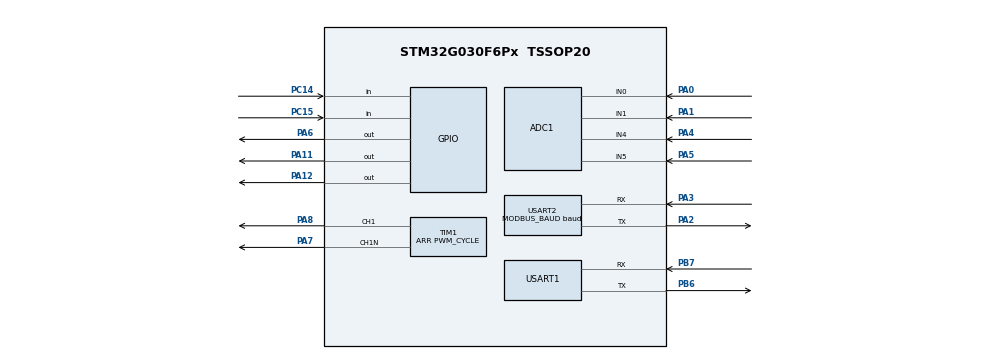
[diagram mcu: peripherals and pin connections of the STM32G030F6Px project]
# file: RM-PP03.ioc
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ADC1.Channel-0\#ChannelRegularConversion=ADC_CHANNEL_0
ADC1.Channel-1\#ChannelRegularConversion=ADC_CHANNEL_1
ADC1.Channel-2\#ChannelRegularConversion=ADC_CHANNEL_4
ADC1.Channel-3\#ChannelRegularConversion=ADC_CHANNEL_5
ADC1.Channel-4\#ChannelRegularConversion=ADC_CHANNEL_VREFINT
ADC1.ClockPrescaler=ADC_CLOCK_SYNC_PCLK_DIV2
ADC1.ContinuousConvMode=DISABLE
ADC1.DMAContinuousRequests=ENABLE
ADC1.DataAlign=ADC_DATAALIGN_LEFT
ADC1.ExternalTrigConv=ADC_SOFTWARE_START
ADC1.NbrOfConversion=5
ADC1.NbrOfConversionFlag=1
ADC1.Rank-0\#ChannelRegularConversion=1
ADC1.Rank-1\#ChannelRegularConversion=2
ADC1.Rank-2\#ChannelRegularConversion=3
ADC1.Rank-3\#ChannelRegularConversion=4
ADC1.Rank-4\#ChannelRegularConversion=5
ADC1.SamplingTime-0\#ChannelRegularConversion=ADC_SAMPLINGTIME_COMMON_1
ADC1.SamplingTime-1\#ChannelRegularConversion=ADC_SAMPLINGTIME_COMMON_1
ADC1.SamplingTime-2\#ChannelRegularConversion=ADC_SAMPLINGTIME_COMMON_1
ADC1.SamplingTime-3\#ChannelRegularConversion=ADC_SAMPLINGTIME_COMMON_1
ADC1.SamplingTime-4\#ChannelRegularConversion=ADC_SAMPLINGTIME_COMMON_2
ADC1.SamplingTimeCommon1=ADC_SAMPLETIME_39CYCLES_5
ADC1.SamplingTimeCommon2=ADC_SAMPLETIME_79CYCLES_5
ADC1.SelectedChannel=ADC_CHANNEL_0|ADC_CHANNEL_1|ADC_CHANNEL_4|ADC_CHANNEL_5|ADC_CHANNEL_VREFINT
ADC1.master=1
Dma.ADC1.0.Direction=DMA_PERIPH_TO_MEMORY
Dma.ADC1.0.EventEnable=DISABLE
Dma.ADC1.0.Instance=DMA1_Channel1
Dma.ADC1.0.MemDataAlignment=DMA_MDATAALIGN_HALFWORD
Dma.ADC1.0.MemInc=DMA_MINC_ENABLE
Dma.ADC1.0.Mode=DMA_CIRCULAR
Dma.ADC1.0.PeriphDataAlignment=DMA_PDATAALIGN_HALFWORD
Dma.ADC1.0.PeriphInc=DMA_PINC_DISABLE
Dma.ADC1.0.Polarity=HAL_DMAMUX_REQ_GEN_RISING
Dma.ADC1.0.Priority=DMA_PRIORITY_LOW
Dma.ADC1.0.RequestNumber=1
Dma.ADC1.0.SignalID=NONE
Dma.ADC1.0.SyncEnable=DISABLE
Dma.ADC1.0.SyncPolarity=HAL_DMAMUX_SYNC_NO_EVENT
Dma.ADC1.0.SyncRequestNumber=1
Dma.ADC1.0.SyncSignalID=NONE
Dma.Request0=ADC1
Dma.Request1=USART2_TX
Dma.Request2=USART1_TX
Dma.USART1_TX.2.Direction=DMA_MEMORY_TO_PERIPH
Dma.USART1_TX.2.EventEnable=DISABLE
Dma.USART1_TX.2.Instance=DMA1_Channel3
Dma.USART1_TX.2.MemDataAlignment=DMA_MDATAALIGN_BYTE
Dma.USART1_TX.2.MemInc=DMA_MINC_ENABLE
Dma.USART1_TX.2.Mode=DMA_NORMAL
Dma.USART1_TX.2.PeriphDataAlignment=DMA_PDATAALIGN_BYTE
Dma.USART1_TX.2.PeriphInc=DMA_PINC_DISABLE
Dma.USART1_TX.2.Polarity=HAL_DMAMUX_REQ_GEN_RISING
Dma.USART1_TX.2.Priority=DMA_PRIORITY_LOW
Dma.USART1_TX.2.RequestNumber=1
Dma.USART1_TX.2.SignalID=NONE
Dma.USART1_TX.2.SyncEnable=DISABLE
Dma.USART1_TX.2.SyncPolarity=HAL_DMAMUX_SYNC_NO_EVENT
Dma.USART1_TX.2.SyncRequestNumber=1
Dma.USART1_TX.2.SyncSignalID=NONE
Dma.USART2_TX.1.Direction=DMA_MEMORY_TO_PERIPH
Dma.USART2_TX.1.EventEnable=DISABLE
Dma.USART2_TX.1.Instance=DMA1_Channel2
Dma.USART2_TX.1.MemDataAlignment=DMA_MDATAALIGN_BYTE
Dma.USART2_TX.1.MemInc=DMA_MINC_ENABLE
Dma.USART2_TX.1.Mode=DMA_NORMAL
Dma.USART2_TX.1.PeriphDataAlignment=DMA_PDATAALIGN_BYTE
Dma.USART2_TX.1.PeriphInc=DMA_PINC_DISABLE
Dma.USART2_TX.1.Polarity=HAL_DMAMUX_REQ_GEN_RISING
Dma.USART2_TX.1.Priority=DMA_PRIORITY_LOW
Dma.USART2_TX.1.RequestNumber=1
Dma.USART2_TX.1.SignalID=NONE
Dma.USART2_TX.1.SyncEnable=DISABLE
Dma.USART2_TX.1.SyncPolarity=HAL_DMAMUX_SYNC_NO_EVENT
Dma.USART2_TX.1.SyncRequestNumber=1
Dma.USART2_TX.1.SyncSignalID=NONE
Mcu.Family=STM32G0
Mcu.Name=STM32G030F6Px
Mcu.Package=TSSOP20
Mcu.UserConstants=PWM_CYCLE,(SYSCLOCK / PWM_HZ - 1);SYSCLOCK,(64*1000*1000);PWM_HZ,(100000);MODBUS_BAUD,115200
NVIC.DMA1_Channel1_IRQn=true\:2\:0\:true\:false\:true\:false\:true\:true
NVIC.DMA1_Channel2_3_IRQn=true\:1\:0\:true\:false\:true\:false\:true\:true
NVIC.TIM17_IRQn=true\:3\:0\:true\:false\:true\:true\:true\:true
NVIC.TIM1_BRK_UP_TRG_COM_IRQn=true\:3\:0\:true\:false\:true\:true\:true\:true
NVIC.USART1_IRQn=true\:0\:0\:false\:false\:true\:true\:true\:true
NVIC.USART2_IRQn=true\:0\:0\:false\:false\:true\:true\:true\:true
PA0.Mode=IN0
PA0.Signal=ADC1_IN0
PA1.Mode=IN1
PA1.Signal=ADC1_IN1
PA11\ [PA9].Signal=GPIO_Output
PA12\ [PA10].Signal=GPIO_Output
PA13.Mode=Serial_Wire
PA13.Signal=SYS_SWDIO
PA14-BOOT0.Mode=Serial_Wire
PA14-BOOT0.Signal=SYS_SWCLK
PA14-BOOT0__PA15.StandardMode=true
PA2.Mode=Asynchronous
PA2.Signal=USART2_TX
PA3.GPIO_PuPd=GPIO_PULLUP
PA3.Mode=Asynchronous
PA3.Signal=USART2_RX
PA4.Mode=IN4
PA4.Signal=ADC1_IN4
PA5.Mode=IN5
PA5.Signal=ADC1_IN5
PA6.Signal=GPIO_Output
PA7.GPIO_PuPd=GPIO_PULLDOWN
PA7.GPIO_Speed=GPIO_SPEED_FREQ_VERY_HIGH
PA7.Mode=PWM Generation1 CH1 CH1N
PA7.PinState=GPIO_PIN_RESET
PA7.Signal=TIM1_CH1N
PA8.GPIO_PuPd=GPIO_PULLDOWN
PA8.GPIO_Speed=GPIO_SPEED_FREQ_VERY_HIGH
PA8.PinState=GPIO_PIN_RESET
PA8.Signal=S_TIM1_CH1
PB0__PB1__PB2__PA8.StandardMode=true
PB3__PB4__PB5__PB6.StandardMode=true
PB6.Mode=Asynchronous
PB6.Signal=USART1_TX
PB7.GPIO_PuPd=GPIO_PULLUP
PB7.Mode=Asynchronous
PB7.Signal=USART1_RX
PB7__PB8.StandardMode=true
PC14-OSC32_IN\ (PC14).Signal=GPIO_Input
PC14-OSC32_IN\ (PC14)__PB9.StandardMode=true
PC15-OSC32_OUT\ (PC15).Signal=GPIO_Input
ProjectManager.HeapSize=0x200
ProjectManager.StackSize=0x400
ProjectManager.TargetToolchain=STM32CubeIDE
RCC.ADCFreq_Value=64000000
RCC.AHBFreq_Value=64000000
RCC.CortexFreq_Value=64000000
RCC.EXTERNAL_CLOCK_VALUE=12288000
RCC.HCLKFreq_Value=64000000
RCC.HSE_VALUE=8000000
RCC.HSI_VALUE=16000000
RCC.LSE_VALUE=32768
RCC.SYSCLKFreq_VALUE=64000000
RCC.SYSCLKSource=RCC_SYSCLKSOURCE_PLLCLK
RCC.VCOOutputFreq_Value=128000000
SH.S_TIM1_CH1.0=TIM1_CH1,PWM Generation1 CH1 CH1N
TIM1.AutoReloadPreload=TIM_AUTORELOAD_PRELOAD_ENABLE
TIM1.Channel-PWM\ Generation1\ CH1\ CH1N=TIM_CHANNEL_1
TIM1.OCFastMode_PWM-PWM\ Generation1\ CH1\ CH1N=TIM_OCFAST_ENABLE
TIM1.OCIdleState_1=TIM_OCIDLESTATE_SET
TIM1.OCNIdleState_1=TIM_OCNIDLESTATE_SET
TIM1.OCNPolarity_1=TIM_OCNPOLARITY_LOW
TIM1.OCPolarity_1=TIM_OCPOLARITY_LOW
TIM1.OffStateIDLEMode=TIM_OSSI_DISABLE
TIM1.OffStateRunMode=TIM_OSSR_ENABLE
TIM1.Period=PWM_CYCLE
TIM17.Period=63
USART1.VirtualMode-Asynchronous=VM_ASYNC
USART2.BaudRate=MODBUS_BAUD
USART2.VirtualMode-Asynchronous=VM_ASYNC
VP_ADC1_Vref_Input.Mode=IN-Vrefint
VP_TIM17_VS_ClockSourceINT.Mode=Enable_Timer
VP_TIM1_VS_ClockSourceINT.Mode=Internal
board=custom

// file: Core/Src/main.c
/* USER CODE BEGIN Header */
/**
  ******************************************************************************
  * @file           : main.c
  * @brief          : Main program body
  ******************************************************************************
  * @attention
  *
  * Copyright (c) 2023 STMicroelectronics.
  * All rights reserved.
  *
  * This software is licensed under terms that can be found in the LICENSE file
  * in the root directory of this software component.
  * If no LICENSE file comes with this software, it is provided AS-IS.
  *
  ******************************************************************************
  */
/* USER CODE END Header */
#include "main.h"
#include "adc.h"
#include "dma.h"
#include "tim.h"
#include "usart.h"
#include "gpio.h"

/* USER CODE BEGIN Includes */
#include <stdbool.h>
#include <stdint.h>
#include <string.h>
/* USER CODE END Includes */

/* USER CODE BEGIN PTD */
typedef enum
{
  STATE_STARTUP,
  STATE_NORMAL,
  STATE_EMO,
}STATE;

typedef enum
{
  MB_EC_ILLEGAL_FUNCTION = 0x01,
  MB_EC_ILLEGAL_DATA_ADDRESS,
  MB_EC_ILLEGAL_DATA_VALUE,
  MB_EC_SERVER_DEVICFEFAILURE,
  MB_EC_ACKNOWLEDGE,
  MB_EC_SERVER_DEVICE_BUSY,
  MB_EC_MEMORY_PARITY_ERROR = 0x08,
  MB_EC_GATEWAY_PATH_UNAVAILABLE = 0x0A,
  MB_EC_GATEWAY_TARGET_DEVICE_FAILED_TO_RESPOND,
}MB_EXCEPTION_CODE;
/* USER CODE END PTD */

/* USER CODE BEGIN PD */
const static uint32_t ModbusTimeout = 1000;
const static uint32_t SwitchProcInterval = 10;
const static uint32_t EmoResetDuration = 5000;
const static uint32_t LedProcInterval = 125;
const static int LedPhaseMax = 8;
const static bool LedPatternStartup[] = {false, false, false, false, false, false, false, false};
const static bool LedPatternDisabled[] = {false, false, false, false, false, true, false, true};
const static bool LedPatternEnabled[] = {false, false, false, false, true, true, true, true};
const static bool LedPatternEmo[] = {false, true, false, true, false, true, false, true};
/* USER CODE END PD */

/* USER CODE BEGIN PV */
uint32_t ms = 0;
static uint32_t last_mb_ms_ = 0;
static uint32_t sw_proc_ms_prev_ = 0;
static uint32_t led_proc_ms_prev_ = 0;
static int led_phase_ = 0;
static STATE state = STATE_STARTUP;
static bool adc_update_ = false;

const int MbSlaveAddress = 1;
/*
Modbus Coils
Addr  : Assign
1     : Output
2     : Emergency mode
*/
typedef enum
{
  MB_COILS_OUTPUT = 0,
  MB_COILS_EMERGENCY_MODE,
  MB_COILS_NUM
} MB_COILS;
static bool mb_coils_[MB_COILS_NUM] = {false};
/*
Modbus Discrete inputs
Addr  : Assign
1     : Emergency switch
2     : Mode switch
*/
typedef enum
{
  MB_DI_SW_EMO = 0,
  MB_DI_SW_MODE,
  MB_DI_NUM
} MB_DISCRETE_INPUTS;
static bool mb_discrete_inputs_[MB_DI_NUM] = {false};
/*
Modbus Holding Registers
Addr  : Assign
40001 : Output rate
          bit 0-14  : rate 0 to 32767
          bit 15    : direction 0 : Foward / 1 : Reverse
40002 : Constant light rate 0 to 65535
40003 : Superimpose amplitude rate 0 to 65535. default 65535/5
40004 : Superimpose frequency 0 to 1000 is beter. default 50
*/
typedef enum
{
  MB_HR_OUTPUT_RATE = 0,
  MB_HR_CL_RATE,
  MB_HR_SI_RATE,
  MB_HR_SI_FREQ,
  MB_HR_NUM
} MB_HOLDING_REGISTERS;
static uint16_t mb_holding_regs_[MB_HR_NUM] = {
  0,
  0,
  65535/5,
  50
};
/*
Modbus Input Registers
Addr  : Assign
30001 : Average supply voltage in mV
30002 : Peak supply voltage in mV
30003 : Average output current in mA
30004 : Peak output current in mA
*/
typedef enum
{
  MB_IR_VOLT_AVE = 0,
  MB_IR_VOLT_PEAK,
  MB_IR_CUR_AVE,
  MB_IR_CUR_PEAK,
  MB_IR_NUM
} MB_INPUT_REGISTERS;
static uint16_t mb_input_regs_[MB_IR_NUM] = {0};
/* USER CODE END PV */

void SystemClock_Config(void);
/* USER CODE BEGIN PFP */
char itoh(const int i)
{
  if (i > 0xF) return 0;
  if (i > 9) return i - 10 + 'A';
  return i + '0';
}

bool sw_emo_is_pressed()
{
  return LL_GPIO_IsInputPinSet(GPIOC, LL_GPIO_PIN_14) > 0 ? false : true;
}

int sw_mode_state()
{
  return LL_GPIO_IsInputPinSet(GPIOC, LL_GPIO_PIN_15) > 0 ? 1 : 0;
}

void led_on()
{
  LL_GPIO_SetOutputPin(GPIOA, LL_GPIO_PIN_6);
}

void led_off()
{
  LL_GPIO_ResetOutputPin(GPIOA, LL_GPIO_PIN_6);
}

/* USER CODE END PFP */

/* USER CODE BEGIN 0 */
void adc_update_reserve()
{
  adc_update_ = true;
}

void init_boot_config()
{
  if (FLASH->OPTR & (FLASH_OPTR_nBOOT_SEL_Msk))
  {
    // Unlock FLASH programing
    WRITE_REG(FLASH->KEYR, 0x45670123);
    WRITE_REG(FLASH->KEYR, 0xCDEF89AB);

    // Unlock FLASH option programing
    WRITE_REG(FLASH->OPTKEYR, 0x08192A3B);
    WRITE_REG(FLASH->OPTKEYR, 0x4C5D6E7F);

    // Enable BOOT0 pin
    CLEAR_BIT(FLASH->OPTR, FLASH_OPTR_nBOOT_SEL);

    // Check no FLASH operation
    while (FLASH->SR & FLASH_SR_BSY1_Msk);

    // FLASH program start
    SET_BIT(FLASH->CR, FLASH_CR_OPTSTRT);

    // Wait program done
    while (FLASH->SR & FLASH_SR_BSY1_Msk);

    // Load to register
    SET_BIT(FLASH->CR, FLASH_CR_OBL_LAUNCH);
  }
}

void update_pwm_settings()
{
  PWM_DIR dir = mb_holding_regs_[MB_HR_OUTPUT_RATE] & 0x8000 ? PWM_DIR_REV : PWM_DIR_FWD;
  pwm_set_rate((mb_holding_regs_[MB_HR_OUTPUT_RATE] & 0x7FFFF) * 2, dir);
  pwm_set_constant_light_rate(mb_holding_regs_[MB_HR_CL_RATE]);
  pwm_set_superimpose_amplitude(mb_holding_regs_[MB_HR_SI_RATE]);
  pwm_set_superimpose_freq(mb_holding_regs_[MB_HR_SI_FREQ]);
}
/* USER CODE END 0 */

int main(void)
{
  /* USER CODE BEGIN 1 */
  uint8_t mb_rx_frame[256];
  uint8_t mb_tx_frame[256];
  int mb_length = 0;
  int sw_mode = 0;
  int sw_mode_prev = 0;
  bool sw_emo = false;
  bool emo_prev = false;
  bool mb_emo_prev = false;
  uint32_t emo_change_ms = 0;
  STATE state_emo_changed = state;
  bool sw_emo_prev = false;
  const bool* led_pattern = LedPatternStartup;
  /* USER CODE END 1 */

  /* MCU Configuration--------------------------------------------------------*/

  /* Reset of all peripherals, Initializes the Flash interface and the Systick. */
  LL_APB2_GRP1_EnableClock(LL_APB2_GRP1_PERIPH_SYSCFG);
  LL_APB1_GRP1_EnableClock(LL_APB1_GRP1_PERIPH_PWR);

  /* SysTick_IRQn interrupt configuration */
  NVIC_SetPriority(SysTick_IRQn, 3);

  /* USER CODE BEGIN Init */
  init_boot_config();

  /* USER CODE END Init */

  /* Configure the system clock */
  SystemClock_Config();

  /* Initialize all configured peripherals */
  MX_GPIO_Init();
  MX_DMA_Init();
  MX_ADC1_Init();
  MX_TIM1_Init();
  MX_USART1_UART_Init();
  MX_USART2_UART_Init();
  MX_TIM17_Init();
  /* USER CODE BEGIN 2 */
  LL_SYSTICK_EnableIT();
  usart_init();
  pwm_init();
  adc_init();
  /* USER CODE END 2 */

  /* Infinite loop */
  /* USER CODE BEGIN WHILE */
  update_pwm_settings();

  state = STATE_NORMAL;
  sw_proc_ms_prev_ = ms;
  led_proc_ms_prev_ = ms;
  while (1)
  {
    if (adc_update_)
    {
      adc_update_ = false;
      adc_lpf_proc();
      mb_input_regs_[MB_IR_VOLT_AVE] = adc_get_vm();
      mb_input_regs_[MB_IR_VOLT_PEAK] = adc_get_vm_peak();
      mb_input_regs_[MB_IR_CUR_AVE] = adc_get_cur();
      mb_input_regs_[MB_IR_CUR_PEAK] = adc_get_cur_peak();
    }
    mb_discrete_inputs_[MB_DI_SW_EMO]  = sw_emo;
    mb_discrete_inputs_[MB_DI_SW_MODE] = sw_mode;
    /* USER CODE END WHILE */

    /* USER CODE BEGIN 3 */
    mb_length = mb_pop_frame(mb_rx_frame);
    if (mb_length != 0)
    {
      const uint8_t mb_slv_addr = mb_rx_frame[0];
      const uint8_t mb_func_code = mb_rx_frame[1];
      const uint8_t* mb_pdata = &mb_rx_frame[2];
      if (mb_slv_addr != 1)
      {

      }
      else
      {
        int len = 0;
        mb_tx_frame[len++] = 0x01;
        switch (mb_func_code)
        {
          // 01 (0x01) Read Coils
          case 0x01:
          {
            const uint16_t starting_addr = mb_pdata[0] << 8 | mb_pdata[1];
            const uint16_t quantity_of_coils = mb_pdata[2] << 8 | mb_pdata[3];
            if (starting_addr > MB_COILS_NUM)
            {
              mb_tx_frame[len++] = mb_func_code + 0x80;
              mb_tx_frame[len++] = MB_EC_ILLEGAL_DATA_ADDRESS;
            }
            else if (quantity_of_coils == 0 || quantity_of_coils + starting_addr > MB_COILS_NUM)
            {
              mb_tx_frame[len++] = mb_func_code + 0x80;
              mb_tx_frame[len++] = MB_EC_ILLEGAL_DATA_VALUE;
            }
            else
            {
              mb_tx_frame[len++] = mb_func_code;
              const int byte_count = (quantity_of_coils + 7) / 8;
              mb_tx_frame[len++] = byte_count;
              for (int i = 0; i < byte_count; ++i)
              {
                for (int j = 0; j < 8; ++j)
                {
                  const int idx = starting_addr + i*8 + j;
                  if (idx == MB_COILS_NUM)
                    break;
                  if (mb_coils_[idx])
                    mb_tx_frame[len + i] |= (1 << j);
                  else
                    mb_tx_frame[len + i] &= ~(1 << j);
                }
              }
              len += byte_count;
            }
            mb_push_frame(mb_tx_frame, len);
          }
          break;

          // 02 (0x02) Read Discrete Inputs
          case 0x02:
          {
            const uint16_t starting_addr = mb_pdata[0] << 8 | mb_pdata[1];
            const uint16_t quantity_of_inputs = mb_pdata[2] << 8 | mb_pdata[3];
            if (starting_addr > MB_DI_NUM)
            {
              mb_tx_frame[len++] = mb_func_code + 0x80;
              mb_tx_frame[len++] = MB_EC_ILLEGAL_DATA_ADDRESS;
            }
            else if (quantity_of_inputs == 0 || quantity_of_inputs + starting_addr > MB_DI_NUM)
            {
              mb_tx_frame[len++] = mb_func_code + 0x80;
              mb_tx_frame[len++] = MB_EC_ILLEGAL_DATA_VALUE;
            }
            else
            {
              mb_tx_frame[len++] = mb_func_code;
              const int byte_count = (quantity_of_inputs + 7) / 8;
              mb_tx_frame[len++] = byte_count;
              for (int i = 0; i < byte_count; ++i)
              {
                for (int j = 0; j < 8; ++j)
                {
                  const int idx = starting_addr + i*8 + j;
                  if (idx == MB_DI_NUM)
                    break;
                  if (mb_discrete_inputs_[idx])
                    mb_tx_frame[len + i] |= (1 << j);
                  else
                    mb_tx_frame[len + i] &= ~(1 << j);
                }
              }
              len += byte_count;
            }
            mb_push_frame(mb_tx_frame, len);
          }
          break;

          // 03 (0x03) Read Holding Registers
          case 0x03:
          {
            const uint16_t starting_addr = mb_pdata[0] << 8 | mb_pdata[1];
            const uint16_t quantity_of_reg = mb_pdata[2] << 8 | mb_pdata[3];
            if (starting_addr > MB_HR_NUM)
            {
              mb_tx_frame[len++] = mb_func_code + 0x80;
              mb_tx_frame[len++] = MB_EC_ILLEGAL_DATA_ADDRESS;
            }
            else if (quantity_of_reg == 0 || quantity_of_reg + starting_addr > MB_HR_NUM)
            {
              mb_tx_frame[len++] = mb_func_code + 0x80;
              mb_tx_frame[len++] = MB_EC_ILLEGAL_DATA_VALUE;
            }
            else
            {
              mb_tx_frame[len++] = mb_func_code;
              mb_tx_frame[len++] = quantity_of_reg * 2;
              for (int i = 0; i < quantity_of_reg; ++i)
              {
                mb_tx_frame[len++] = mb_holding_regs_[starting_addr + i] >> 8;
                mb_tx_frame[len++] = mb_holding_regs_[starting_addr + i] & 0xFF;
              }
            }
            mb_push_frame(mb_tx_frame, len);
          }
          break;

          // 04 (0x04) Read Input Registers
          case 0x04:
          {
            const uint16_t starting_addr = mb_pdata[0] << 8 | mb_pdata[1];
            const uint16_t quantity_of_reg = mb_pdata[2] << 8 | mb_pdata[3];
            if (starting_addr > MB_IR_NUM)
            {
              mb_tx_frame[len++] = mb_func_code + 0x80;
              mb_tx_frame[len++] = MB_EC_ILLEGAL_DATA_ADDRESS;
            }
            else if (quantity_of_reg == 0 || quantity_of_reg + starting_addr > MB_IR_NUM)
            {
              mb_tx_frame[len++] = mb_func_code + 0x80;
              mb_tx_frame[len++] = MB_EC_ILLEGAL_DATA_VALUE;
            }
            else
            {
              mb_tx_frame[len++] = mb_func_code;
              mb_tx_frame[len++] = quantity_of_reg * 2;
              for (int i = 0; i < quantity_of_reg; ++i)
              {
                mb_tx_frame[len++] = mb_input_regs_[starting_addr + i] >> 8;
                mb_tx_frame[len++] = mb_input_regs_[starting_addr + i] & 0xFF;
              }
            }
            mb_push_frame(mb_tx_frame, len);
          }
          break;

          // 05 (0x05) Write Single Coil
          case 0x05:
          {
            const uint16_t output_addr = mb_pdata[0] << 8 | mb_pdata[1];
            const uint16_t output_value = mb_pdata[2] << 8 | mb_pdata[3];
            if (output_addr > MB_COILS_NUM)
            {
              mb_tx_frame[len++] = mb_func_code + 0x80;
              mb_tx_frame[len++] = MB_EC_ILLEGAL_DATA_ADDRESS;
            }
            else if (output_value == 0x0000 || output_value == 0xFF00)
            {
              memcpy(mb_tx_frame, mb_rx_frame, mb_length);
              len = mb_length;
              mb_coils_[output_addr] = output_value != 0 ? true : false;
            }
            else
            {
              mb_tx_frame[len++] = mb_func_code + 0x80;
              mb_tx_frame[len++] = MB_EC_ILLEGAL_DATA_VALUE;
            }
            mb_push_frame(mb_tx_frame, len);
          }
          break;

          // 06 (0x06) Write Single Register
          case 0x06:
          {
            const uint16_t reg_addr = mb_pdata[0] << 8 | mb_pdata[1];
            const uint16_t reg_value = mb_pdata[2] << 8 | mb_pdata[3];
            if (reg_addr > MB_HR_NUM)
            {
              mb_tx_frame[len++] = mb_func_code + 0x80;
              mb_tx_frame[len++] = MB_EC_ILLEGAL_DATA_ADDRESS;
            }
            else
            {
              memcpy(mb_tx_frame, mb_rx_frame, mb_length);
              len = mb_length;

              mb_holding_regs_[reg_addr] = reg_value;
            }
            mb_push_frame(mb_tx_frame, len);
          }
          break;

          // 15 (0x0F) Write Multiple Coils
          case 0x0F:
          {
            const uint16_t starting_addr = mb_pdata[0] << 8 | mb_pdata[1];
            const uint16_t quantity_of_coils = mb_pdata[2] << 8 | mb_pdata[3];
            const uint8_t byte_count = mb_pdata[4];
            if (quantity_of_coils == 0
                || (quantity_of_coils + 7) / 8 != byte_count
                || byte_count != mb_length - (2+5+2))
            {
              mb_tx_frame[len++] = mb_func_code + 0x80;
              mb_tx_frame[len++] = MB_EC_ILLEGAL_DATA_VALUE;
            }
            else if (quantity_of_coils + starting_addr > MB_COILS_NUM)
            {
              mb_tx_frame[len++] = mb_func_code + 0x80;
              mb_tx_frame[len++] = MB_EC_ILLEGAL_DATA_ADDRESS;
            }
            else
            {
              memcpy(mb_tx_frame, mb_rx_frame, mb_length);
              len = mb_length;

              for (int i = 0; i < quantity_of_coils; ++i)
              {
                if (mb_pdata[5 + i / 8] & (1 << (i%8)))
                  mb_coils_[i + starting_addr] = true;
                else
                  mb_coils_[i + starting_addr] = false;
              }
            }
            mb_push_frame(mb_tx_frame, len);
          }
          break;

          // 16 (0x10) Write Multiple registers
          case 0x10:
          {
            const uint16_t starting_addr = mb_pdata[0] << 8 | mb_pdata[1];
            const uint16_t quantity_of_regs = mb_pdata[2] << 8 | mb_pdata[3];
            const uint8_t byte_count = mb_pdata[4];
            if (quantity_of_regs == 0
                || quantity_of_regs * 2 != byte_count
                || byte_count != mb_length - (2+5+2))
            {
              mb_tx_frame[len++] = mb_func_code + 0x80;
              mb_tx_frame[len++] = MB_EC_ILLEGAL_DATA_VALUE;
            }
            else if (quantity_of_regs + starting_addr > MB_HR_NUM)
            {
              mb_tx_frame[len++] = mb_func_code + 0x80;
              mb_tx_frame[len++] = MB_EC_ILLEGAL_DATA_ADDRESS;
            }
            else
            {
              memcpy(mb_tx_frame, mb_rx_frame, mb_length);
              len = mb_length;
              for (int i = 0; i < quantity_of_regs; ++i)
              {
                mb_holding_regs_[starting_addr + i] = mb_pdata[i * 2 + 5] << 8 | mb_pdata[i * 2 + 6];
              }
            }
            mb_push_frame(mb_tx_frame, len);
          }
          break;

          default:
          {
            mb_tx_frame[len++] = mb_func_code + 0x80;
            mb_tx_frame[len++] = MB_EC_ILLEGAL_FUNCTION;
            mb_push_frame(mb_tx_frame, len);
          }
          break;
        }
      }
      last_mb_ms_ = ms;
    }

    if (mb_coils_[MB_COILS_OUTPUT])
    {
      if (sw_emo != emo_prev)
      {
        // when change emo switch
        emo_change_ms = ms;
        state_emo_changed = state;
      }
      emo_prev = sw_emo;

      if ( (mb_coils_[MB_COILS_EMERGENCY_MODE] && !mb_emo_prev)
        || (sw_emo && state_emo_changed != STATE_EMO)
        || (ms - last_mb_ms_ > ModbusTimeout))
      {
        // enter to emo state
        led_pattern = LedPatternEmo;
        state = STATE_EMO;
        mb_coils_[MB_COILS_EMERGENCY_MODE] = true;
        pwm_disable_output();
      }
      else if ( (!mb_coils_[MB_COILS_EMERGENCY_MODE] && mb_emo_prev)
          || (sw_emo
          && state == STATE_EMO
          && state_emo_changed == STATE_EMO
          && ms - emo_change_ms >= EmoResetDuration))
      {
        // reset emo state
        led_pattern = LedPatternEnabled;
        state = STATE_NORMAL;
        mb_holding_regs_[MB_HR_OUTPUT_RATE] = 0;
        mb_coils_[MB_COILS_EMERGENCY_MODE] = false;
        update_pwm_settings();
        pwm_enable_output();
      }
      else if (state == STATE_NORMAL)
      {
        led_pattern = LedPatternEnabled;
        update_pwm_settings();
        pwm_enable_output();
      }
      mb_emo_prev = mb_coils_[MB_COILS_EMERGENCY_MODE];
    }
    else
    {
      led_pattern = LedPatternDisabled;
      pwm_disable_output();
    }

    if (ms - sw_proc_ms_prev_ >= SwitchProcInterval)
    {
      sw_proc_ms_prev_ += SwitchProcInterval;
      bool s = sw_emo_is_pressed();
      if (s == sw_emo_prev) sw_emo = s;
      sw_emo_prev = s;

      int m = sw_mode_state();
      if (m == sw_mode_prev) sw_mode = m;
      sw_mode_prev = m;
    }

    if (ms - led_proc_ms_prev_ >= LedProcInterval)
    {
      led_proc_ms_prev_ += LedProcInterval;
      if (led_pattern[led_phase_++])
        led_on();
      else
        led_off();
      if (led_phase_ == LedPhaseMax)
        led_phase_ = 0;
    }
  }
  /* USER CODE END 3 */
}

void SystemClock_Config(void)
{
  LL_FLASH_SetLatency(LL_FLASH_LATENCY_2);
  while(LL_FLASH_GetLatency() != LL_FLASH_LATENCY_2)
  {
  }

  /* HSI configuration and activation */
  LL_RCC_HSI_Enable();
  while(LL_RCC_HSI_IsReady() != 1)
  {
  }

  /* Main PLL configuration and activation */
  LL_RCC_PLL_ConfigDomain_SYS(LL_RCC_PLLSOURCE_HSI, LL_RCC_PLLM_DIV_1, 8, LL_RCC_PLLR_DIV_2);
  LL_RCC_PLL_Enable();
  LL_RCC_PLL_EnableDomain_SYS();
  while(LL_RCC_PLL_IsReady() != 1)
  {
  }

  /* Set AHB prescaler*/
  LL_RCC_SetAHBPrescaler(LL_RCC_SYSCLK_DIV_1);

  /* Sysclk activation on the main PLL */
  LL_RCC_SetSysClkSource(LL_RCC_SYS_CLKSOURCE_PLL);
  while(LL_RCC_GetSysClkSource() != LL_RCC_SYS_CLKSOURCE_STATUS_PLL)
  {
  }

  /* Set APB1 prescaler*/
  LL_RCC_SetAPB1Prescaler(LL_RCC_APB1_DIV_1);

  LL_Init1msTick(64000000);

  /* Update CMSIS variable (which can be updated also through SystemCoreClockUpdate function) */
  LL_SetSystemCoreClock(64000000);
}

void Error_Handler(void)
{
  __disable_irq();
  while (1)
  {
  }
}
